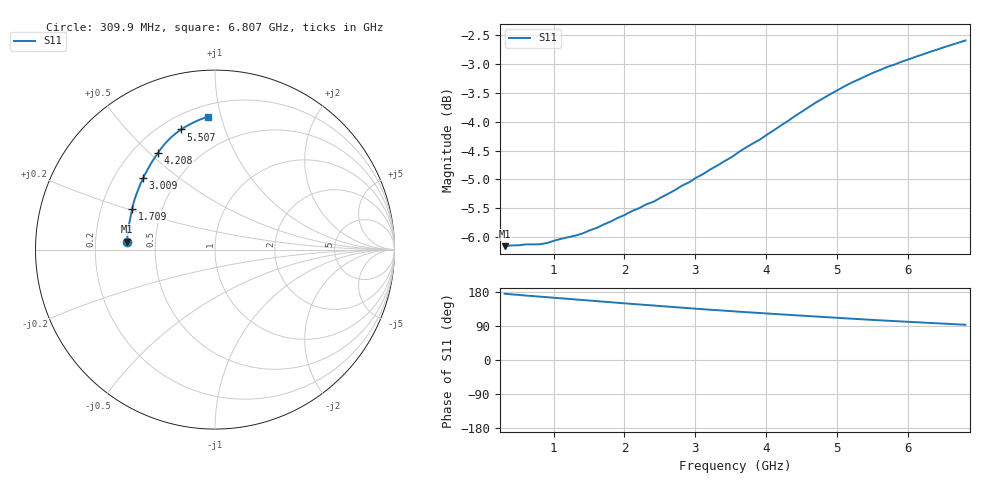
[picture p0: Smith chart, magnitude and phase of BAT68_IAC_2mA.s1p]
! Infineon Technologies  Discrete & RF Semiconductors
! BAT68
! IAC = 2 mA
! One-Port S-Parameters
# Hz  S  MA  R  50
!f  S11
!Hz  Mag  Ang
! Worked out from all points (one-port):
!   66 points, 309.9 MHz to 6.807 GHz, reference 50 ohm
!   lowest |S11| = -6.2 dB at 309.9 MHz (marker M1), VSWR 2.94, Z = 17 + j2.02 ohm
!   |S11| at or under -10 dB: nowhere
!   S11 on the Smith chart (normalised r, x): 309.9 MHz: 0.34, +0.04; 1.709 GHz: 0.34, +0.21; 3.009 GHz: 0.32, +0.37; 4.208 GHz: 0.30, +0.53; 5.507 GHz: 0.28, +0.72; 6.807 GHz: 0.28, +0.91
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3.0985e8  0.4924 174.8
6.097e8  0.4942 170.1
8.096e8  0.4943 167.2
1.10945e9  0.4998 162.8
1.2094e9  0.5013 161.3
1.4093e9  0.5051 158.3
1.70915e9  0.5142 153.8
2.009e9  0.5242 149.4
2.30885e9  0.5353 145.1
2.4088e9  0.538 143.8
2.50875e9  0.5422 142.3
2.8086e9  0.5554 138.1
3.0085e9  0.5642 135.3
3.4083e9  0.5831 130.1
3.50825e9  0.5877 128.9
3.6082e9  0.5937 127.5
3.8081e9  0.604 125.2
4.2079e9  0.6262 120.4
4.4078e9  0.6382 118.1
4.70765e9  0.6559 114.7
4.90755e9  0.6666 112.4
5.2074e9  0.6821 109.0
5.50725e9  0.6954 105.8
5.6072e9  0.6993 104.6
5.70715e9  0.7036 103.7
6.007e9  0.7141 100.7
6.30685e9  0.7248 97.8
6.8066e9  0.7415 93.0
